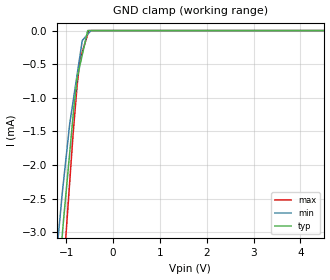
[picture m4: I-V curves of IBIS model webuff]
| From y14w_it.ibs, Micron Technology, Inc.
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|   webuff MODEL
[Model]   webuff
Model_type   Input
| Used for WE. Contains no Power Clamp Structures.
Vinl = 800.000mV
Vinh = 2.000V
|   typ   min   max
C_comp   2.650pF   2.400pF   2.900pF
[Voltage Range]   3.300V   3.000V   3.600V
| Junction Temperature (Ambient temp is 25C typ, 85C min, -40C max)
[Temperature Range]   40.0   100.0   -40.0
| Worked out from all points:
|   GND clamp passes 1 mA (typ) near -0.81 V on its own axis
[GND Clamp]
|   Voltage   I(typ)   I(min)   I(max)
-3.3V     -641.9mA   -677.2mA   -585.8mA
-1.21V    -4.095mA   -3.356mA   -5.093mA
-1.14V    -3.505mA   -2.829mA   -4.354mA
-1.085V   -3.042mA   -2.418mA   -3.813mA
-1.06V    -2.832mA   -2.255mA   -3.567mA
-930mV    -1.845mA   -1.408mA   -2.288mA
-855mV    -1.276mA   -1.057mA   -1.549mA
-770mV    -722uA     -664.7uA   -840.1uA
-710mV    -523.8uA   -387.4uA   -432.9uA
-660mV    -367.2uA   -156.4uA   -320.5uA
-540mV    0A         -53.17uA   -50.66uA
6.6V      0A         0A         0A
[POWER Clamp]
|   Voltage   I(typ)   I(min)   I(max)
-3.3V     0A         0A         0A
0V        0A         0A         0A
6.6V      0A         0A         0A
